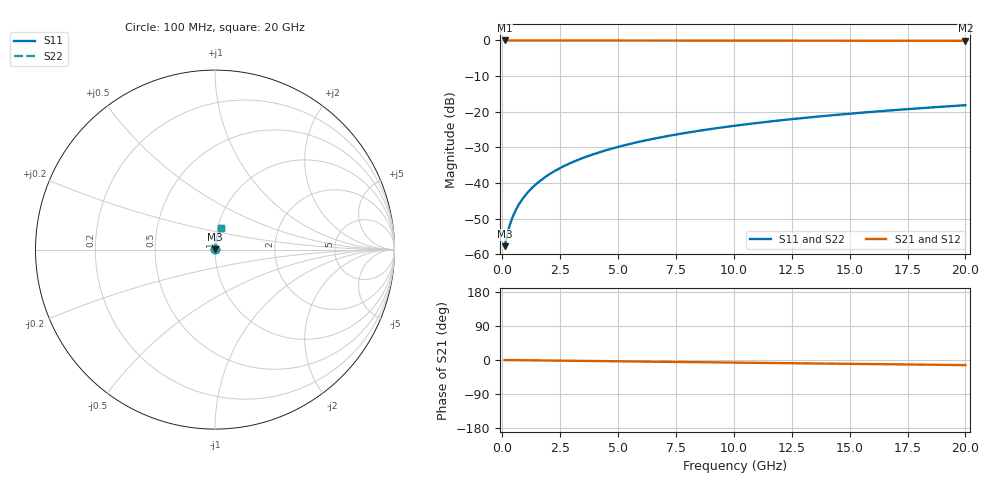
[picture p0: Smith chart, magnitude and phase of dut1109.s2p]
! Touchstone file exported from HFSS 2026.1.0
!  File:  C:/ffzhzh/LocalFiles/Ansys_Project_Files/temp_train_BSMRDL_1109_1783174927_55132.aedt
!  Generated:  10:23:17 PM Jul  4, 2026
!  Design:  BSMRDL
!  Project:  temp_train_BSMRDL_1109_1783174927_55132
! Variables:
!  h_bsmrdl = 2.76um
!  h_ox = 20um
!  h_rdl = 5um
!  h_sub = 80um
!  h_tmrdl = 5um
!  h_tsv = 80um
!  h_via = 3um
!  l_bsmrdl = 163.87um
!  l_sub = 563.87um
!  l_tmrdl = 200um
!  m_sub = 200um
!  pitch = 49.77um
!  r_tsv = 6um
!  s_tmrdl = 10um
!  w_bsmrdl = 28.42um
!  w_sub = 500um
!  w_tmrdl = 12um
!  x_tsv_center1 = 206um
!  x_tsv_center2 = 398.29um
!  x_tsv_center3 = 610.29um
!  x_tsv_center4 = 802.58um
!  x_tsv_center5 = 1014.58um
!  x_tsv_center6 = 1206.87um
# GHz S MA R 50.000000
! Terminal data exported
! Port[1] = BSM_RDL1_1_T1
! Port[2] = BSM_RDL1_1_T2
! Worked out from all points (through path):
!   200 points, 100 MHz to 20 GHz, reference 50 ohm
!   highest |S21| = -0.01 dB at 100 MHz (marker M1); lowest = -0.1 dB at 20 GHz (marker M2)
!   group delay of S21, straight-line fit = 1.87 ps
!   lowest |S11| = -57.7 dB at 100 MHz (marker M3), VSWR 1.00, Z = 50.1 + j0.0731 ohm
!   |S11| at or under -10 dB: start of sweep to end of sweep
!   |S22| runs from -57.7 to -18.2 dB; largest |S21 - S12| = 4e-15
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0.1  0.001303 34.0  0.9989 -0.1  0.9989 -0.1  0.001303 34.0
! Gamma 0 0 0 0
! Port Impedance 50 0 50 0
0.2  0.001828 51.9  0.9989 -0.1  0.9989 -0.1  0.001828 51.9
0.3  0.002433 60.7  0.9988 -0.2  0.9988 -0.2  0.002433 60.7
0.4  0.003052 65.8  0.9988 -0.3  0.9988 -0.3  0.003052 65.8
0.5  0.003671 69.1  0.9987 -0.4  0.9987 -0.4  0.003671 69.1
0.6  0.004288 71.6  0.9987 -0.4  0.9987 -0.4  0.004288 71.6
0.8  0.005524 75.0  0.9986 -0.6  0.9986 -0.6  0.005524 75.0
1.1  0.007389 78.0  0.9986 -0.8  0.9986 -0.8  0.007389 78.0
1.3  0.008643 79.4  0.9985 -0.9  0.9985 -0.9  0.008643 79.4
1.6  0.01053 80.8  0.9985 -1.1  0.9985 -1.1  0.01053 80.8
2.1  0.0137 82.1  0.9984 -1.4  0.9984 -1.4  0.0137 82.1
2.7  0.01752 83.0  0.9983 -1.9  0.9983 -1.9  0.01752 83.0
3.5  0.02261 83.4  0.9981 -2.4  0.9981 -2.4  0.02261 83.4
4.2  0.02706 83.4  0.9979 -2.9  0.9979 -2.9  0.02706 83.4
5  0.03214 83.3  0.9976 -3.4  0.9976 -3.4  0.03214 83.3
5.9  0.03783 83.0  0.9973 -4.0  0.9973 -4.0  0.03783 83.0
6.8  0.04349 82.6  0.9969 -4.6  0.9969 -4.6  0.04349 82.6
8.3  0.05287 81.8  0.9962 -5.7  0.9962 -5.7  0.05287 81.8
10.1  0.06403 80.8  0.9953 -6.9  0.9953 -6.9  0.06403 80.7
13.4  0.08419 78.8  0.9933 -9.1  0.9933 -9.1  0.08419 78.8
16.7  0.104 76.7  0.9909 -11.3  0.9909 -11.3  0.104 76.7
20  0.1235 74.7  0.9883 -13.5  0.9883 -13.5  0.1235 74.7
